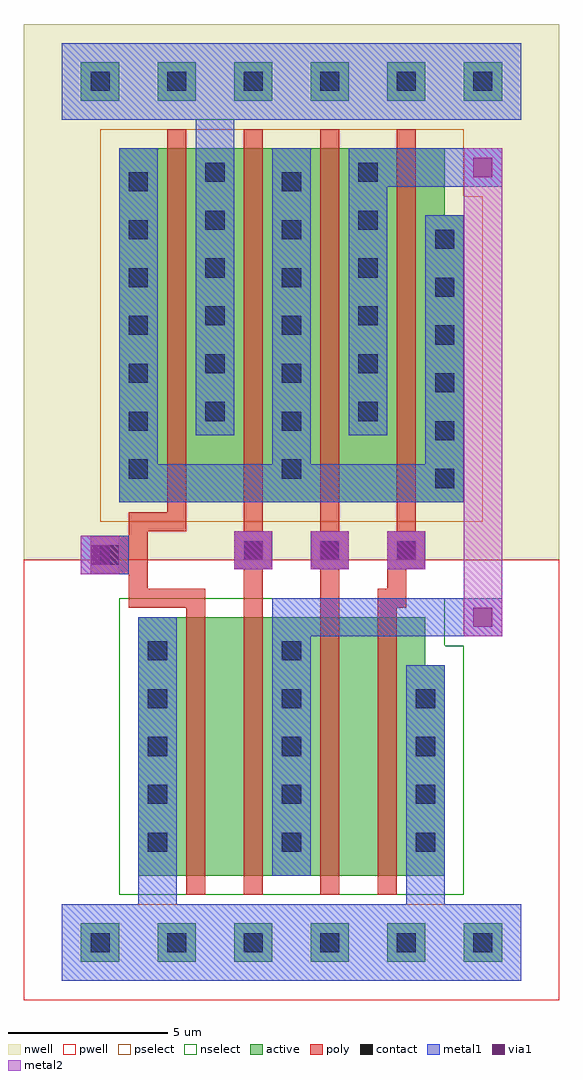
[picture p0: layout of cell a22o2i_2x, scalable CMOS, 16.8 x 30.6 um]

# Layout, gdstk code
import gdstk
lib = gdstk.Library(unit=1e-6, precision=1e-09)
def R(c, l, rs):  # rectangles x0, y0, x1, y1
    for r in rs: c.add(gdstk.rectangle(r[:2], r[2:], *l))
def A(c, l, x, y, w, h, nx, ny, dx, dy):  # array of equal rectangles
    R(c, l, [(x+i*dx, y+j*dy, x+i*dx+w, y+j*dy+h) for i in range(nx) for j in range(ny)])
contact = (25, 0)
pwell = (41, 0)
nwell = (42, 0)
active = (43, 0)
pselect = (44, 0)
nselect = (45, 0)
poly = (46, 0)
metal1 = (49, 0)
via1 = (50, 0)
metal2 = (51, 0)

a22o2i_2x = lib.new_cell('a22o2i_2x')
A(a22o2i_2x, contact, 0.3, -0.3, 0.6, 0.6, 6, 2, 2.4, 27)
A(a22o2i_2x, contact, 2.1, 2.85, 0.6, 0.6, 3, 4, 4.2, 1.5)
A(a22o2i_2x, contact, 5.1, 12, 0.6, 0.6, 3, 1, 2.4, 0)
A(a22o2i_2x, contact, 11.1, 14.25, 0.6, 0.6, 1, 6, 0, 1.5)
A(a22o2i_2x, contact, 1.5, 14.55, 0.6, 0.6, 1, 7, 0, 1.5)
A(a22o2i_2x, contact, 6.3, 14.55, 0.6, 0.6, 1, 7, 0, 1.5)
A(a22o2i_2x, contact, 3.9, 16.35, 0.6, 0.6, 1, 6, 0, 1.5)
A(a22o2i_2x, contact, 8.7, 16.35, 0.6, 0.6, 1, 6, 0, 1.5)
R(a22o2i_2x, contact, [(2.1,8.85,2.7,9.45), (6.3,8.85,6.9,9.45), (0.6,11.85,1.2,12.45)])
A(a22o2i_2x, pwell, -0.9, -1.5, 3, 3, 6, 1, 2.4, 0)
R(a22o2i_2x, pwell, [(-1.8,-1.8,15,12), (0,0.3,4.8,12), (0.6,0.3,6.6,12), (2.4,0.3,8.4,12), (4.2,0.3,9,12), (4.8,0.3,10.8,12), (6.6,0.3,12.6,12), (8.4,0.3,13.2,10.5), (4.35,2.55,8.925,7.05), (0.15,3.15,4.725,7.65), (4.275,3.45,8.85,7.95), (6.225,3.45,11.175,7.95), (8.475,3.45,13.05,7.95), (2.025,4.05,6.975,8.55)])
A(a22o2i_2x, nwell, 0, 12, 6, 14.7, 4, 1, 2.4, 0)
A(a22o2i_2x, nwell, -0.9, 25.5, 3, 3, 6, 1, 2.4, 0)
R(a22o2i_2x, nwell, [(-1.8,12,15,28.8), (-0.6,12,4.2,26.7), (4.2,12,9,26.7), (9,12,13.8,24.6), (1.8,14.1,6.6,26.7), (6.6,14.1,11.4,26.7), (6.75,14.55,11.325,19.05), (4.35,15.75,8.925,20.25), (6.675,16.05,11.25,20.55), (4.2,16.65,8.775,21.15), (1.875,16.95,6.45,21.45), (1.95,17.55,6.525,22.05), (-0.45,18.6,4.125,23.1), (9.075,20.1,13.65,24.6)])
A(a22o2i_2x, active, 0, -0.6, 1.2, 1.2, 6, 2, 2.4, 27)
A(a22o2i_2x, active, 1.8, 13.8, 2.4, 11.1, 4, 1, 2.4, 0)
R(a22o2i_2x, active, [(1.8,2.1,3,10.2), (2.4,2.1,4.8,10.2), (4.2,2.1,6.6,10.2), (6,2.1,7.2,10.2), (6.6,2.1,9,10.2), (8.4,2.1,10.8,10.2), (10.2,2.1,11.4,8.7), (6.15,4.35,7.125,5.25), (1.95,4.95,2.925,5.85), (6.075,5.25,7.05,6.15), (8.025,5.25,9.375,6.15), (10.275,5.25,11.25,6.15), (3.825,5.85,5.175,6.75), (1.2,13.8,2.4,24.9), (6,13.8,7.2,24.9), (10.8,13.8,12,22.8), (3.6,15.9,4.8,24.9), (8.4,15.9,9.6,24.9), (8.55,16.35,9.525,17.25), (6.15,17.55,7.125,18.45), (8.475,17.85,9.45,18.75), (6,18.45,6.975,19.35), (3.675,18.75,4.65,19.65), (3.75,19.35,4.725,20.25), (1.35,20.4,2.325,21.3), (10.875,21.9,11.85,22.8)])
A(a22o2i_2x, pselect, -0.6, -1.2, 2.4, 2.4, 6, 1, 2.4, 0)
A(a22o2i_2x, pselect, 1.2, 13.2, 3.6, 12.3, 4, 1, 2.4, 0)
R(a22o2i_2x, pselect, [(0.6,13.2,3,25.5), (5.4,13.2,7.8,25.5), (10.2,13.2,12.6,23.4), (3,15.3,5.4,25.5), (7.8,15.3,10.2,25.5), (7.95,15.75,10.125,17.85), (5.55,16.95,7.725,19.05), (7.875,17.25,10.05,19.35), (5.4,17.85,7.575,19.95), (3.075,18.15,5.25,20.25), (3.15,18.75,5.325,20.85), (0.75,19.8,2.925,21.9), (10.275,21.3,12.45,23.4)])
A(a22o2i_2x, nselect, -0.6, 25.8, 2.4, 2.4, 6, 1, 2.4, 0)
R(a22o2i_2x, nselect, [(1.2,1.5,3.6,10.8), (1.8,1.5,5.4,10.8), (3.6,1.5,7.2,10.8), (5.4,1.5,7.8,10.8), (6,1.5,9.6,10.8), (7.8,1.5,11.4,10.8), (9.6,1.5,12,9.3), (5.55,3.75,7.725,5.85), (1.35,4.35,3.525,6.45), (5.475,4.65,7.65,6.75), (7.425,4.65,9.975,6.75), (9.675,4.65,11.85,6.75), (3.225,5.25,5.775,7.35)])
A(a22o2i_2x, poly, 4.8, 11.7, 1.2, 1.2, 3, 1, 2.4, 0)
A(a22o2i_2x, poly, 2.7, 13.2, 0.6, 12.3, 4, 1, 2.4, 0)
R(a22o2i_2x, poly, [(3.3,1.5,3.9,10.8), (5.1,1.5,5.7,10.8), (7.5,1.5,8.1,10.8), (9.3,1.5,9.9,10.8), (1.5,10.5,2.1,12.3), (1.5,10.5,3.9,11.1), (5.1,10.5,5.7,12.6), (7.5,10.5,8.1,12.6), (9.3,10.5,10.2,11.1), (9.6,10.5,10.2,12.6), (0.3,11.55,1.5,12.75), (0.6,11.7,2.1,12.3), (1.5,11.7,2.1,13.5), (5.1,12,5.7,13.5), (7.5,12,8.1,13.5), (7.5,12,8.1,13.5), (9.6,12,10.5,12.6), (9.9,12,10.5,13.5), (1.5,12.9,3.3,13.5)])
A(a22o2i_2x, metal1, -0.6, -1.2, 4.8, 2.4, 4, 1, 2.4, 0)
A(a22o2i_2x, metal1, 0, -0.6, 1.2, 1.2, 6, 1, 2.4, 0)
A(a22o2i_2x, metal1, 0, 26.4, 1.2, 1.2, 4, 1, 2.4, 0)
R(a22o2i_2x, metal1, [(-0.6,-1.2,3.6,1.2), (1.2,-1.2,4.2,1.2), (9,-1.2,12,1.2), (9.6,-1.2,13.8,1.2), (11.4,-1.2,13.8,1.2), (1.8,-0.6,3,3.3), (10.2,-0.6,11.4,3.3), (12,-0.6,13.2,0.6), (1.8,2.1,3,10.2), (6,2.1,7.2,10.2), (10.2,2.1,11.4,8.7), (6,9,7.2,10.8), (6,9.6,12.9,10.8), (12,9.6,13.2,10.8), (0,11.55,1.2,12.75), (0,11.55,1.5,12.75), (0.3,11.55,1.5,12.75), (4.8,11.7,6,12.9), (4.8,11.7,6,12.9), (4.8,11.7,6,12.9), (7.2,11.7,8.4,12.9), (7.2,11.7,8.4,12.9), (7.2,11.7,8.4,12.9), (9.6,11.7,10.8,12.9), (9.6,11.7,10.8,12.9), (9.6,11.7,10.8,12.9), (1.2,13.8,2.4,24.9), (1.2,13.8,6.3,15), (4.8,13.8,6.3,15), (5.1,13.8,7.05,15), (5.1,13.8,12,15), (6,13.8,7.2,24.9), (10.8,13.8,12,22.8), (3.6,15.9,4.8,24.9), (8.4,15.9,9.6,24.9), (3.6,23.7,4.8,27.6), (8.4,23.7,13.2,24.9), (12,23.7,13.2,24.9), (-0.6,25.8,1.8,28.2), (-0.6,25.8,4.2,28.2), (1.8,25.8,9,28.2), (1.8,25.8,5.4,28.2), (6.6,25.8,11.4,28.2), (9,25.8,13.8,28.2), (0,26.4,1.2,27.6), (4.8,26.4,8.4,27.6), (7.2,26.4,8.4,27.6), (9.6,26.4,10.8,27.6), (9.6,26.4,10.8,27.6), (12,26.4,13.2,27.6), (12,26.4,13.2,27.6)])
A(a22o2i_2x, via1, 5.1, 12, 0.6, 0.6, 3, 1, 2.4, 0)
R(a22o2i_2x, via1, [(12.3,9.9,12.9,10.5), (0.3,11.85,0.9,12.45), (12.3,24,12.9,24.6)])
A(a22o2i_2x, metal2, 4.8, 11.7, 1.2, 1.2, 3, 1, 2.4, 0)
R(a22o2i_2x, metal2, [(12,9.6,13.2,10.8), (12,9.6,13.2,24.9), (0,11.55,1.2,12.75), (12,23.7,13.2,24.9)])

lib.write_gds('a22o2i_2x.gds')
